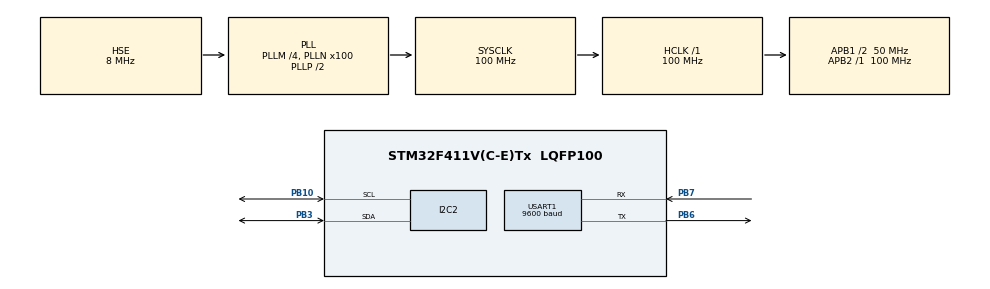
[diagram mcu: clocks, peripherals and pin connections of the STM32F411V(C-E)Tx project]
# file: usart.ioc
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I2C2.I2C_Mode=I2C_Fast
Mcu.Family=STM32F4
Mcu.Name=STM32F411V(C-E)Tx
Mcu.Package=LQFP100
NVIC.I2C2_ER_IRQn=true\:0\:0\:false\:false\:true\:true\:true
NVIC.I2C2_EV_IRQn=true\:0\:0\:false\:false\:true\:true\:true
NVIC.PriorityGroup=NVIC_PRIORITYGROUP_4
NVIC.TIM3_IRQn=true\:0\:0\:false\:false\:true\:true\:true
NVIC.USART1_IRQn=true\:0\:0\:false\:false\:true\:true\:true
PB10.Mode=I2C
PB10.Signal=I2C2_SCL
PB3.Mode=I2C
PB3.Signal=I2C2_SDA
PB6.Mode=Asynchronous
PB6.Signal=USART1_TX
PB7.Mode=Asynchronous
PB7.Signal=USART1_RX
PH0\ -\ OSC_IN.Mode=HSE-External-Oscillator
PH0\ -\ OSC_IN.Signal=RCC_OSC_IN
PH1\ -\ OSC_OUT.Mode=HSE-External-Oscillator
PH1\ -\ OSC_OUT.Signal=RCC_OSC_OUT
ProjectManager.HeapSize=0x200
ProjectManager.StackSize=0x400
ProjectManager.TargetToolchain=STM32CubeIDE
RCC.48MHZClocksFreq_Value=50000000
RCC.AHBFreq_Value=100000000
RCC.APB1CLKDivider=RCC_HCLK_DIV2
RCC.APB1Freq_Value=50000000
RCC.APB1TimFreq_Value=100000000
RCC.APB2Freq_Value=100000000
RCC.APB2TimFreq_Value=100000000
RCC.CortexFreq_Value=100000000
RCC.HCLKFreq_Value=100000000
RCC.HSE_VALUE=8000000
RCC.HSI_VALUE=16000000
RCC.LSE_VALUE=32768
RCC.PLLM=4
RCC.PLLN=100
RCC.PLLSourceVirtual=RCC_PLLSOURCE_HSE
RCC.SYSCLKFreq_VALUE=100000000
RCC.SYSCLKSource=RCC_SYSCLKSOURCE_PLLCLK
RCC.VCOOutputFreq_Value=200000000
TIM3.Period=9999
TIM3.Prescaler=9999
USART1.BaudRate=9600
USART1.VirtualMode=VM_ASYNC
VP_TIM3_VS_ClockSourceINT.Mode=Internal
board=custom

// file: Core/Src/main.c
/* USER CODE BEGIN Header */
/**
  ******************************************************************************
  * @file           : main.c
  * @brief          : Main program body
  ******************************************************************************
  * @attention
  *
  * <h2><center>&copy; Copyright (c) 2020 STMicroelectronics.
  * All rights reserved.</center></h2>
  *
  * This software component is licensed by ST under BSD 3-Clause license,
  * the "License"; You may not use this file except in compliance with the
  * License. You may obtain a copy of the License at:
  *                        opensource.org/licenses/BSD-3-Clause
  *
  ******************************************************************************
  */
/* USER CODE END Header */
#include "main.h"

I2C_HandleTypeDef hi2c2;

TIM_HandleTypeDef htim3;

UART_HandleTypeDef huart1;

/* USER CODE BEGIN PV */
uint8_t sendUART[2]={'A','B'};
uint16_t sizeSendUART = 2;
uint8_t receiveUART[1];
uint16_t sizeReceiveUART =1;

char dataToSend[60];
/* USER CODE END PV */

void SystemClock_Config(void);
static void MX_GPIO_Init(void);
static void MX_USART1_UART_Init(void);
static void MX_I2C2_Init(void);
static void MX_TIM3_Init(void);
/* USER CODE BEGIN PFP */

void send_char(char c)
{
	uint8_t sendUART[1]={c};
	HAL_UART_Transmit_IT(&huart1, sendUART, 1);
}
void send_string(const char* s, int size)
{
    	HAL_UART_Transmit_IT(&huart1, s, size);
}
void createDateToSend(int temp, int cis, int wil, int pow, int wys)
{
    int i = 0;
    while(dataToSend[i] != '\0') {
    	dataToSend[i] = '\0';
        i++;
    }
	char str1[10];
	char str2[10];
	char str3[10];
	char str4[10];
	char str5[10];

	sprintf(str1, "%d", temp);
	sprintf(str2, "%d", cis);
	sprintf(str3, "%d", wil);
	sprintf(str4, "%d", pow);
	sprintf(str5, "%d", wys);

    strcat(dataToSend,"A");
    strcat(dataToSend,str1);
    strcat(dataToSend,"B");
    strcat(dataToSend,str2);
    strcat(dataToSend,"C");
    strcat(dataToSend,str3);
    strcat(dataToSend,"D");
    strcat(dataToSend,str4);
    strcat(dataToSend,"E");
    strcat(dataToSend,str5);
    strcat(dataToSend,"X");
}

void createDateToSendF(float temp, float cis, float wil, float pow, float wys)
{
    int i = 0;
    while(dataToSend[i] != '\0') {
    	dataToSend[i] = '\0';
        i++;
    }
	char str1[10];
	char str2[10];
	char str3[10];
	char str4[10];
	char str5[10];

	gcvt(temp,4,str1);
	gcvt(cis*0.001,6,str2);
	gcvt(wil,4,str3);
	gcvt(pow,4,str4);
	gcvt(wys,4,str5);

    strcat(dataToSend,"A");
    strcat(dataToSend,str1);
    strcat(dataToSend,"B");
    strcat(dataToSend,str2);
    strcat(dataToSend,"C");
    strcat(dataToSend,str3);
    strcat(dataToSend,"D");
    strcat(dataToSend,str4);
    strcat(dataToSend,"E");
    strcat(dataToSend,str5);
    strcat(dataToSend,"X");
}
void HAL_TIM_PeriodElapsedCallback(TIM_HandleTypeDef *htim){
 if(htim->Instance == TIM3)
 {
	 createDateToSendF(BME280_ReadTemperature(), BME280_ReadPressure(), BME280_ReadHumidity(), 11, BME280_ReadAltitudeDefSeaLevel());
	 	  	 send_string(dataToSend, 60);
 }
}

/* USER CODE END PFP */

int main(void)
{

  /* MCU Configuration--------------------------------------------------------*/

  /* Reset of all peripherals, Initializes the Flash interface and the Systick. */
  HAL_Init();

  /* USER CODE BEGIN Init */
  BME280_ReadedData_t BME280_Data;

  /* USER CODE END Init */

  /* Configure the system clock */
  SystemClock_Config();

  /* Initialize all configured peripherals */
  MX_GPIO_Init();
  MX_USART1_UART_Init();
  MX_I2C2_Init();
  MX_TIM3_Init();
  /* USER CODE BEGIN 2 */
  BME280_Initial(BME280_STANDBY_MS_1000, BME280_FILTER_X4,
            BME280_TEMP_OVERSAMPLING_X4, BME280_PRES_OVERSAMPLING_X2,
            BME280_HUM_OVERSAMPLING_X1, BME280_MODE_NORMAL);
  HAL_TIM_Base_Start_IT(&htim3);
  /* USER CODE END 2 */

  /* Infinite loop */
  /* USER CODE BEGIN WHILE */
  while (1)
  {
	  //float f = BME280_ReadTemperature();
	  //float f1 = BME280_ReadPressure();
	  //float f2 = BME280_ReadHumidity();
	  //float f3 = BME280_ReadAltitudeDefSeaLevel();

    /* USER CODE END WHILE */

  }
}

void SystemClock_Config(void)
{
  RCC_OscInitTypeDef RCC_OscInitStruct = {0};
  RCC_ClkInitTypeDef RCC_ClkInitStruct = {0};

  /** Configure the main internal regulator output voltage
  */
  __HAL_RCC_PWR_CLK_ENABLE();
  __HAL_PWR_VOLTAGESCALING_CONFIG(PWR_REGULATOR_VOLTAGE_SCALE1);
  /** Initializes the RCC Oscillators according to the specified parameters
  * in the RCC_OscInitTypeDef structure.
  */
  RCC_OscInitStruct.OscillatorType = RCC_OSCILLATORTYPE_HSE;
  RCC_OscInitStruct.HSEState = RCC_HSE_ON;
  RCC_OscInitStruct.PLL.PLLState = RCC_PLL_ON;
  RCC_OscInitStruct.PLL.PLLSource = RCC_PLLSOURCE_HSE;
  RCC_OscInitStruct.PLL.PLLM = 4;
  RCC_OscInitStruct.PLL.PLLN = 100;
  RCC_OscInitStruct.PLL.PLLP = RCC_PLLP_DIV2;
  RCC_OscInitStruct.PLL.PLLQ = 4;
  if (HAL_RCC_OscConfig(&RCC_OscInitStruct) != HAL_OK)
  {
    Error_Handler();
  }
  /** Initializes the CPU, AHB and APB buses clocks
  */
  RCC_ClkInitStruct.ClockType = RCC_CLOCKTYPE_HCLK|RCC_CLOCKTYPE_SYSCLK
                              |RCC_CLOCKTYPE_PCLK1|RCC_CLOCKTYPE_PCLK2;
  RCC_ClkInitStruct.SYSCLKSource = RCC_SYSCLKSOURCE_PLLCLK;
  RCC_ClkInitStruct.AHBCLKDivider = RCC_SYSCLK_DIV1;
  RCC_ClkInitStruct.APB1CLKDivider = RCC_HCLK_DIV2;
  RCC_ClkInitStruct.APB2CLKDivider = RCC_HCLK_DIV1;

  if (HAL_RCC_ClockConfig(&RCC_ClkInitStruct, FLASH_LATENCY_3) != HAL_OK)
  {
    Error_Handler();
  }
}

static void MX_I2C2_Init(void)
{

  hi2c2.Instance = I2C2;
  hi2c2.Init.ClockSpeed = 400000;
  hi2c2.Init.DutyCycle = I2C_DUTYCYCLE_2;
  hi2c2.Init.OwnAddress1 = 0;
  hi2c2.Init.AddressingMode = I2C_ADDRESSINGMODE_7BIT;
  hi2c2.Init.DualAddressMode = I2C_DUALADDRESS_DISABLE;
  hi2c2.Init.OwnAddress2 = 0;
  hi2c2.Init.GeneralCallMode = I2C_GENERALCALL_DISABLE;
  hi2c2.Init.NoStretchMode = I2C_NOSTRETCH_DISABLE;
  if (HAL_I2C_Init(&hi2c2) != HAL_OK)
  {
    Error_Handler();
  }

}

static void MX_TIM3_Init(void)
{

  TIM_ClockConfigTypeDef sClockSourceConfig = {0};
  TIM_MasterConfigTypeDef sMasterConfig = {0};

  htim3.Instance = TIM3;
  htim3.Init.Prescaler = 9999;
  htim3.Init.CounterMode = TIM_COUNTERMODE_UP;
  htim3.Init.Period = 9999;
  htim3.Init.ClockDivision = TIM_CLOCKDIVISION_DIV1;
  htim3.Init.AutoReloadPreload = TIM_AUTORELOAD_PRELOAD_DISABLE;
  if (HAL_TIM_Base_Init(&htim3) != HAL_OK)
  {
    Error_Handler();
  }
  sClockSourceConfig.ClockSource = TIM_CLOCKSOURCE_INTERNAL;
  if (HAL_TIM_ConfigClockSource(&htim3, &sClockSourceConfig) != HAL_OK)
  {
    Error_Handler();
  }
  sMasterConfig.MasterOutputTrigger = TIM_TRGO_RESET;
  sMasterConfig.MasterSlaveMode = TIM_MASTERSLAVEMODE_DISABLE;
  if (HAL_TIMEx_MasterConfigSynchronization(&htim3, &sMasterConfig) != HAL_OK)
  {
    Error_Handler();
  }

}

static void MX_USART1_UART_Init(void)
{

  huart1.Instance = USART1;
  huart1.Init.BaudRate = 9600;
  huart1.Init.WordLength = UART_WORDLENGTH_8B;
  huart1.Init.StopBits = UART_STOPBITS_1;
  huart1.Init.Parity = UART_PARITY_NONE;
  huart1.Init.Mode = UART_MODE_TX_RX;
  huart1.Init.HwFlowCtl = UART_HWCONTROL_NONE;
  huart1.Init.OverSampling = UART_OVERSAMPLING_16;
  if (HAL_UART_Init(&huart1) != HAL_OK)
  {
    Error_Handler();
  }

}

static void MX_GPIO_Init(void)
{

  /* GPIO Ports Clock Enable */
  __HAL_RCC_GPIOH_CLK_ENABLE();
  __HAL_RCC_GPIOB_CLK_ENABLE();

}

void Error_Handler(void)
{
}

/************************ (C) COPYRIGHT STMicroelectronics *****END OF FILE****/
